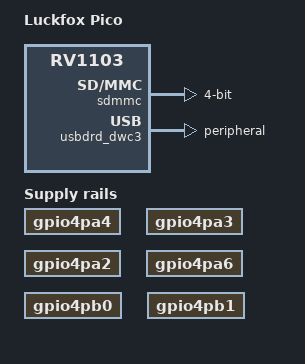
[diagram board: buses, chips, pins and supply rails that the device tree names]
// SPDX-License-Identifier: (GPL-2.0+ OR MIT)
/*
 * Copyright (c) 2022 Rockchip Electronics Co., Ltd.
 */

/dts-v1/;

#include "rv1103.dtsi"
#include "rv1106-evb.dtsi"
#include "rv1103-luckfox-pico-ipc.dtsi"

/ {
	model = "Luckfox Pico";
	compatible = "rockchip,rv1103g-38x38-ipc-v10", "rockchip,rv1103";

	gpio4pa4:gpio4pa4 {
		compatible = "regulator-fixed";
		pinctrl-names = "default";
		pinctrl-0 = <&gpio4_pa4>;
		regulator-name = "gpio4_pa4";
		regulator-always-on;
	};

	gpio4pa3:gpio4pa3 {
		compatible = "regulator-fixed";
		pinctrl-names = "default";
		pinctrl-0 = <&gpio4_pa3>;
		regulator-name = "gpio4_pa3";
		regulator-always-on;
	};

	gpio4pa2:gpio4pa2 {
		compatible = "regulator-fixed";
		pinctrl-names = "default";
		pinctrl-0 = <&gpio4_pa2>;
		regulator-name = "gpio4_pa2";
		regulator-always-on;
	};

	gpio4pa6:gpio4pa6 {
		compatible = "regulator-fixed";
		pinctrl-names = "default";
		pinctrl-0 = <&gpio4_pa6>;
		regulator-name = "gpio4_pa6";
		regulator-always-on;
	};

	gpio4pb0:gpio4pb0 {
		compatible = "regulator-fixed";
		pinctrl-names = "default";
		pinctrl-0 = <&gpio4_pb0>;
		regulator-name = "gpio4_pb0";
		regulator-always-on;
	};

	gpio4pb1:gpio4pb1 {
		compatible = "regulator-fixed";
		pinctrl-names = "default";
		pinctrl-0 = <&gpio4_pb1>;
		regulator-name = "gpio4_pb1";
		regulator-always-on;
	};
};

/**********GPIO***********/
&pinctrl{
	gpio {
		gpio4_pa4:gpio4-pa4 {
			rockchip,pins = <4 RK_PA4 RK_FUNC_GPIO &pcfg_pull_none>;
		};

		gpio4_pa3:gpio4-pa3 {
			rockchip,pins = <4 RK_PA3 RK_FUNC_GPIO &pcfg_pull_none>;
		};

		gpio4_pa2:gpio4-pa2 {
			rockchip,pins = <4 RK_PA2 RK_FUNC_GPIO &pcfg_pull_none>;
		};

		gpio4_pa6:gpio4-pa6 {
			rockchip,pins = <4 RK_PA6 RK_FUNC_GPIO &pcfg_pull_none>;
		};

		gpio4_pb0:gpio4-pb0 {
			rockchip,pins = <4 RK_PB0 RK_FUNC_GPIO &pcfg_pull_none>;
		};

		gpio4_pb1:gpio4-pb1 {
			rockchip,pins = <4 RK_PB1 RK_FUNC_GPIO &pcfg_pull_none>;
		};
	};
};

/**********SDMMC**********/
&sdmmc {
	max-frequency = <50000000>;
	no-sdio;
	no-mmc;
	bus-width = <4>;
	cap-mmc-highspeed;
	cap-sd-highspeed;
	disable-wp;
	pinctrl-names = "default";
	pinctrl-0 = <&sdmmc0_clk &sdmmc0_cmd &sdmmc0_det &sdmmc0_bus4>;
	status = "okay";
};

/**********ETH**********/
&gmac {
	status = "disabled";
};

/**********USB**********/
&usbdrd_dwc3 {
	status = "okay";
	dr_mode = "peripheral";
};

/**********SPI**********/
/* SPI0_M0 */
&spi0 {
	status = "disabled";
	spidev@0 {
		spi-max-frequency = <50000000>;
	};
  fbtft@0 {
    spi-max-frequency = <50000000>;
  };
};

/**********I2C**********/
/* I2C3_M1 */
&i2c3 {
	status = "disabled";
	clock-frequency = <100000>;
};

/**********UART**********/
/* UART3_M1 */
&uart3 {
	status = "disabled";
};

/* UART4_M1 */
&uart4 {
	status = "disabled";
};

/**********PWM**********/
/* PWM1_M0 */
&pwm1 {
	status = "disabled";
};




